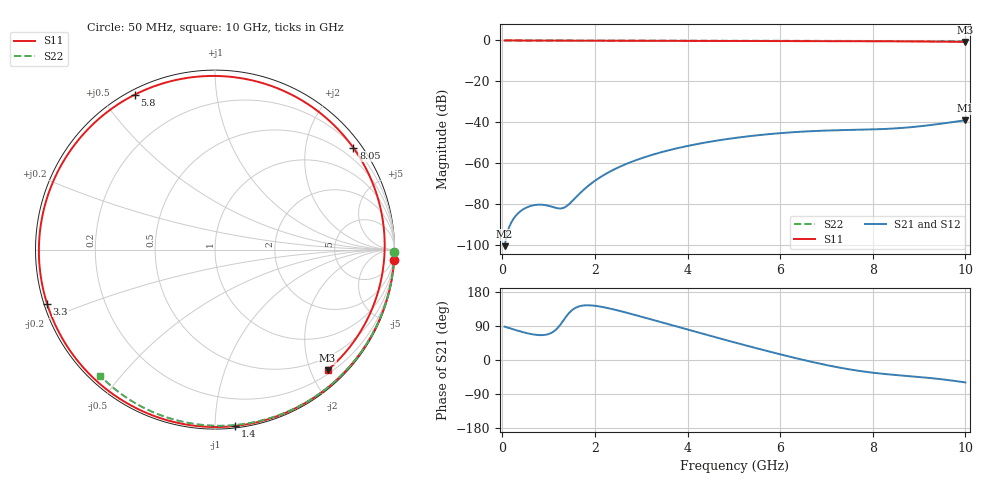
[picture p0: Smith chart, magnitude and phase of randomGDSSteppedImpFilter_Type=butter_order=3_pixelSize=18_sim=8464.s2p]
! freq	dB(S11)	phase(S11)	dB(S12)	phase(S12)
!  dB(S21)	phase(S21)	dB(S22)	phase(S22)
!S-par simulation data
#  GHz  S  DB  R 50
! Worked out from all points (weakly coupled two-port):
!   200 points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, 50 MHz to 10 GHz, reference 50 ohm
!   highest |S21| = -38.92 dB at 10 GHz (marker M1); lowest = -100.4 dB at 50 MHz (marker M2)
!   lowest |S11| = -0.7 dB at 10 GHz (marker M3), VSWR 23.70, Z = 13.1 - j114 ohm
!   |S11| at or under -10 dB: nowhere
!   |S22| runs from -0.4 to 0.0 dB; largest |S21 - S12| = 0
!   S11 on the Smith chart (normalised r, x): 50 MHz: 0, -35; 1.4 GHz: 0.01, -1.12; 3.3 GHz: 0.01, -0.16; 5.8 GHz: 0.02, +0.61; 8.05 GHz: 0.23, +3.04; 10 GHz: 0.26, -2.27
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0.05  -0.00 -3.3  -100.38 88.0  -100.38 88.0  -0.00 -0.8
0.4  -0.04 -25.7  -83.19 75.0  -83.19 75.0  -0.01 -6.1
0.75  -0.06 -47.2  -80.17 66.2  -80.17 66.2  -0.01 -11.4
1.05  -0.08 -64.6  -80.98 70.9  -80.98 70.9  -0.02 -15.9
1.4  -0.09 -83.4  -80.67 118.0  -80.67 118.0  -0.03 -21.1
1.75  -0.11 -100.7  -73.01 143.8  -73.01 143.8  -0.03 -26.3
2.05  -0.12 -114.3  -67.69 142.2  -67.69 142.2  -0.04 -30.8
2.4  -0.13 -128.9  -63.10 133.6  -63.10 133.6  -0.05 -35.9
2.85  -0.14 -146.2  -58.72 119.4  -58.72 119.4  -0.05 -42.3
3.3  -0.15 -162.2  -55.38 104.2  -55.38 104.2  -0.06 -48.7
3.4  -0.15 -165.6  -54.74 100.8  -54.74 100.8  -0.07 -50.1
4.2  -0.18 168.3  -50.58 73.5  -50.58 73.5  -0.09 -61.2
5.05  -0.21 141.5  -47.50 45.2  -47.50 45.2  -0.11 -72.6
5.8  -0.25 117.4  -45.62 21.2  -45.62 21.2  -0.14 -82.3
6.7  -0.29 87.0  -44.23 -5.4  -44.23 -5.4  -0.18 -93.5
7.35  -0.33 63.4  -43.74 -21.6  -43.74 -21.6  -0.22 -101.4
8.05  -0.38 36.3  -43.37 -34.2  -43.37 -34.2  -0.26 -109.7
8.35  -0.41 24.2  -43.09 -38.0  -43.09 -38.0  -0.29 -113.2
8.75  -0.46 7.5  -42.47 -42.2  -42.47 -42.2  -0.32 -117.9
9.15  -0.53 -9.5  -41.55 -46.5  -41.55 -46.5  -0.36 -122.5
9.55  -0.61 -27.0  -40.39 -51.7  -40.39 -51.7  -0.40 -127.0
10  -0.73 -47.0  -38.92 -59.2  -38.92 -59.2  -0.44 -132.2
